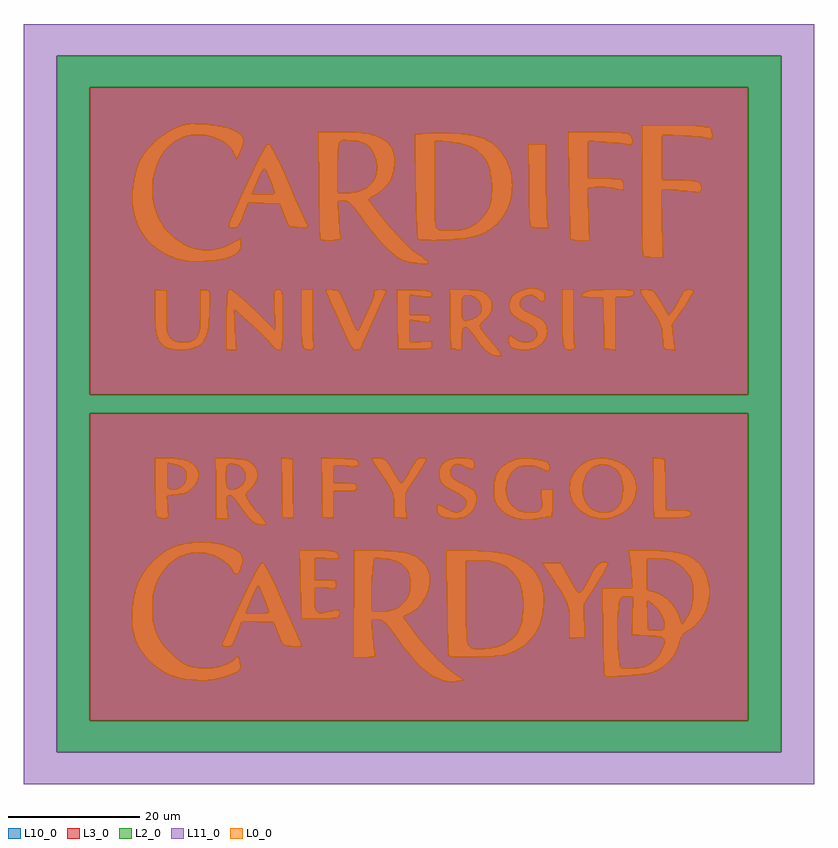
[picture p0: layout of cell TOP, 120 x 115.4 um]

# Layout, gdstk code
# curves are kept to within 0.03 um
import gdstk
lib = gdstk.Library(unit=1e-6, precision=1e-09)
def R(c, l, rs):  # rectangles x0, y0, x1, y1
    for r in rs: c.add(gdstk.rectangle(r[:2], r[2:], *l))
def P(c, l, *ps):  # polygons
    for p in ps: c.add(gdstk.Polygon(p, *l))
L0_0 = (0, 0)
L2_0 = (2, 0)
L3_0 = (3, 0)
L10_0 = (10, 0)
L11_0 = (11, 0)

top = lib.new_cell('TOP')
P(top, L0_0, [(-29.15,-36.901),(-29.516,-36.84),(-29.756,-36.699),(-29.87,-36.498),(-29.832,-36.207),(-27.632,-31.222),(-25.935,-27.638),(-24.447,-27.638),(-24.523,-27.685),(-24.969,-28.581),(-26.319,-31.789),(-23.774,-31.766),(-23.135,-31.694),(-22.897,-31.646),(-22.85,-31.596),(-22.921,-31.105),(-24.305,-27.7),(-24.429,-27.638),(-25.935,-27.638),(-25.349,-26.438),(-24.127,-24.297),(-23.904,-24.136),(-23.629,-24.158),(-23.465,-24.302),(-23.098,-24.932),(-22.29,-26.473),(-21.212,-28.82),(-17.778,-36.712),(-17.88,-36.774),(-18.217,-36.836),(-19.028,-36.849),(-20.156,-36.73),(-20.553,-36.55),(-20.738,-36.365),(-20.896,-36.11),(-22.082,-33.227),(-26.91,-33.042),(-27.827,-35.496),(-28.149,-36.22),(-28.376,-36.564),(-28.572,-36.742),(-28.835,-36.862)],
  [(22.843,-35.662),(22.843,-32.747),(22.79,-31.853),(22.674,-31.004),(22.449,-30.22),(21.788,-28.852),(20.792,-27.275),(18.666,-24.121),(21.549,-24.121),(23.389,-27.474),(23.938,-28.378),(24.103,-28.528),(24.319,-28.582),(24.606,-28.501),(24.84,-28.285),(26.372,-25.412),(26.994,-24.555),(27.363,-24.229),(27.747,-24.019),(28.176,-23.947),(28.536,-24.037),(28.712,-24.158),(28.742,-24.295),(28.03,-25.685),(27.376,-26.774),(25.054,-30.351),(25.182,-35.463)],
  [(5,-42.226),(4.487,-42.206),(3.979,-42.126),(3.421,-41.966),(2.698,-41.673),(1.683,-41.093),(0.632,-40.281),(-0.453,-39.23),(-1.361,-38.186),(-2.604,-36.604),(-3.793,-34.927),(-4.755,-33.666),(-5.337,-33.092),(-5.625,-32.909),(-5.922,-32.791),(-6.221,-32.748),(-7.179,-32.748),(-6.893,-35.993),(-6.671,-37.886),(-6.705,-38.287),(-6.868,-38.415),(-7.137,-38.481),(-9.972,-38.498),(-9.909,-23.403),(-6.771,-23.403),(-7.032,-25.302),(-7.157,-27.311),(-7.188,-31.47),(-5.705,-31.47),(-4.542,-31.333),(-3.675,-31.082),(-2.933,-30.684),(-2.306,-30.136),(-1.938,-29.647),(-1.744,-29.288),(-1.421,-28.277),(-1.316,-27.376),(-1.395,-26.371),(-1.639,-25.55),(-2.069,-24.862),(-2.454,-24.486),(-2.773,-24.257),(-3.585,-23.885),(-4.8,-23.607),(-6.771,-23.403),(-9.909,-23.403),(-9.904,-22.206),(-5.928,-22.205),(-4.553,-22.258),(-3.255,-22.358),(-2.007,-22.535),(-1,-22.873),(-0.3,-23.26),(0.332,-23.75),(1.01,-24.514),(1.266,-24.918),(1.504,-25.451),(1.653,-26.061),(1.705,-26.622),(1.687,-27.186),(1.591,-27.786),(1.261,-28.84),(0.753,-29.824),(0.321,-30.427),(-0.148,-30.948),(-0.582,-31.327),(-1.058,-31.651),(-2.418,-32.329),(-0.244,-35.272),(1.01,-36.769),(2.703,-38.601),(3.525,-39.402),(4.634,-40.371),(6.923,-41.948),(5.513,-42.186)],
  [(-17.891,-32.588),(-18.211,-22.204),(-13.698,-22.227),(-13.182,-22.286),(-12.757,-22.414),(-12.452,-22.633),(-12.273,-22.896),(-12.127,-23.313),(-12.151,-23.411),(-12.227,-23.476),(-12.609,-23.544),(-15.815,-23.423),(-15.815,-26.677),(-13.755,-26.689),(-12.776,-26.841),(-12.635,-26.893),(-12.579,-26.969),(-12.526,-27.534),(-12.535,-27.71),(-12.608,-27.856),(-12.77,-27.967),(-12.964,-28.023),(-15.815,-27.908),(-15.781,-30.499),(-15.727,-30.907),(-15.615,-31.234),(-15.471,-31.469),(-15.252,-31.638),(-15.042,-31.696),(-14.727,-31.702),(-13.215,-31.379),(-12.261,-31.255),(-12.098,-31.319),(-12.022,-31.443),(-12.042,-31.897),(-12.117,-32.128),(-12.243,-32.314),(-12.418,-32.443),(-12.961,-32.558)],
  [(6.382,-38.488),(5.345,-38.44),(4.722,-38.345),(4.519,-38.195),(4.435,-37.897),(4.266,-31.452),(4.173,-23.802),(7.188,-23.802),(7.188,-32.641),(7.233,-35.25),(7.335,-35.964),(7.534,-36.561),(7.722,-36.835),(7.993,-37.025),(8.509,-37.13),(9.407,-37.156),(10.35,-37.081),(11.425,-36.885),(12.474,-36.581),(13.105,-36.327),(13.801,-35.906),(14.405,-35.362),(14.907,-34.705),(15.173,-34.219),(15.378,-33.706),(15.57,-32.958),(15.774,-31.547),(15.815,-30.835),(15.815,-30.183),(15.712,-29.011),(15.608,-28.431),(15.342,-27.428),(15.11,-26.857),(14.809,-26.318),(14.444,-25.82),(14.021,-25.372),(13.545,-24.978),(13.024,-24.645),(12.466,-24.379),(11.745,-24.143),(11.17,-24.007),(10.001,-23.836),(9.411,-23.802),(4.173,-23.802),(4.153,-22.204),(8.223,-22.212),(9.697,-22.277),(12.094,-22.5),(13.112,-22.689),(14.204,-23.028),(14.732,-23.248),(15.741,-23.785),(16.765,-24.544),(17.32,-25.108),(17.805,-25.734),(18.214,-26.417),(18.546,-27.154),(18.879,-28.319),(18.986,-29.121),(19.004,-30.221),(18.964,-30.819),(18.783,-32.002),(18.482,-33.122),(18.3,-33.614),(17.696,-34.814),(17.269,-35.423),(16.778,-35.983),(15.875,-36.764),(14.99,-37.333),(14.494,-37.592),(13.555,-37.982),(12.816,-38.18),(11.703,-38.327)],
  [(28.74,-41.458),(28.464,-41.39),(28.27,-41.243),(28.142,-41.035),(28.074,-40.714),(27.909,-35.49),(27.815,-29.233),(31.454,-29.233),(30.896,-29.309),(30.73,-29.419),(30.59,-29.615),(30.356,-30.677),(30.257,-31.666),(30.205,-33.059),(30.205,-35.388),(30.27,-37.035),(30.6,-40.096),(32.372,-40.096),(33.119,-40.042),(34.057,-39.863),(35.001,-39.478),(35.665,-39.019),(36.281,-38.348),(36.778,-37.475),(37.281,-36.236),(37.262,-35.941),(37.145,-35.71),(36.917,-35.501),(36.629,-35.386),(35.198,-35.254),(32.268,-35.144),(32.472,-29.815),(34.634,-29.815),(34.824,-34.185),(36.767,-34.322),(36.967,-34.278),(37.13,-34.15),(37.195,-33.925),(37.21,-33.28),(37.14,-32.873),(36.945,-32.331),(36.596,-31.671),(36.301,-31.245),(35.973,-30.856),(35.433,-30.374),(34.634,-29.815),(32.472,-29.815),(32.494,-29.233),(27.815,-29.233),(27.796,-27.955),(32.418,-27.955),(31.997,-23.482),(34.665,-23.482),(34.665,-28.173),(35.99,-28.571),(36.447,-28.753),(37.128,-29.154),(37.938,-29.821),(38.654,-30.618),(39.221,-31.484),(39.496,-32.089),(39.981,-33.489),(40.827,-32.127),(41.069,-31.653),(41.329,-30.9),(41.49,-30.076),(41.578,-29.138),(41.569,-28.22),(41.466,-27.316),(41.312,-26.67),(41.1,-26.189),(40.759,-25.679),(40.301,-25.147),(39.633,-24.531),(38.995,-24.11),(38.543,-23.89),(37.83,-23.653),(37.212,-23.536),(36.542,-23.482),(31.997,-23.482),(31.805,-22.204),(35.816,-22.204),(37.227,-22.268),(38.514,-22.392),(39.544,-22.564),(40.468,-22.843),(41.106,-23.127),(41.898,-23.607),(42.688,-24.331),(43.177,-24.992),(43.443,-25.475),(43.691,-26.073),(43.956,-26.969),(44.142,-28.158),(44.154,-28.828),(44.095,-29.496),(43.823,-30.674),(43.342,-31.824),(42.68,-32.86),(42.174,-33.447),(41.7,-33.879),(41.18,-34.253),(40.552,-34.618),(40.145,-35.006),(39.792,-35.612),(39.393,-36.841),(39.132,-37.469),(38.618,-38.349),(38.198,-38.887),(37.719,-39.382),(37.188,-39.827),(36.604,-40.224),(35.735,-40.673),(35.17,-40.873),(34.588,-41.011),(32.316,-41.3),(30.184,-41.442)],
  [(-32.878,-42.025),(-34.361,-41.982),(-35.1,-41.903),(-36.219,-41.699),(-37.199,-41.414),(-38.594,-40.797),(-39.468,-40.243),(-40.326,-39.57),(-41.112,-38.822),(-41.812,-38.014),(-42.388,-37.206),(-42.761,-36.54),(-43.201,-35.411),(-43.441,-34.41),(-43.576,-33.253),(-43.607,-32.467),(-43.549,-30.892),(-43.459,-30.104),(-43.188,-28.675),(-42.88,-27.661),(-42.474,-26.706),(-42.005,-25.855),(-41.397,-24.976),(-40.506,-23.943),(-39.522,-23.034),(-38.996,-22.626),(-38.15,-22.077),(-37.341,-21.681),(-36.489,-21.38),(-35.611,-21.171),(-34.339,-21.005),(-32.929,-20.946),(-31.515,-21.012),(-30.032,-21.252),(-29.008,-21.565),(-28.299,-21.845),(-27.764,-22.102),(-27.412,-22.342),(-27.127,-22.616),(-26.945,-22.879),(-26.827,-23.177),(-26.76,-23.679),(-26.79,-24.143),(-26.883,-24.562),(-27.037,-25.009),(-27.316,-25.55),(-27.647,-25.823),(-27.795,-25.863),(-27.919,-25.83),(-28.112,-25.65),(-28.612,-24.827),(-29.455,-24.007),(-30.011,-23.622),(-30.654,-23.288),(-31.825,-22.866),(-33.016,-22.649),(-34.051,-22.638),(-35.074,-22.803),(-36.061,-23.139),(-36.687,-23.455),(-37.273,-23.838),(-38.119,-24.579),(-39.057,-25.745),(-39.559,-26.608),(-39.896,-27.383),(-40.223,-28.527),(-40.411,-29.853),(-40.454,-31.372),(-40.322,-32.886),(-40.133,-33.841),(-39.746,-34.964),(-39.37,-35.713),(-38.581,-36.85),(-37.726,-37.793),(-36.809,-38.613),(-35.77,-39.341),(-35.119,-39.642),(-34.079,-39.917),(-33.128,-40.046),(-31.686,-40.044),(-30.747,-39.916),(-29.449,-39.547),(-28.883,-39.296),(-28.432,-39.029),(-27.588,-38.362),(-27.451,-38.351),(-27.343,-38.447),(-27.106,-39.415),(-27.075,-40.046),(-27.234,-40.411),(-27.591,-40.722),(-28.425,-41.104),(-29.327,-41.442),(-30.295,-41.72),(-31.403,-41.916)],
  [(16.235,-17.61),(15.582,-17.564),(14.938,-17.451),(14.351,-17.285),(13.801,-17.059),(13.306,-16.785),(12.729,-16.357),(12.386,-16.023),(11.913,-15.446),(11.582,-14.891),(11.388,-14.145),(11.342,-12.817),(11.426,-11.8),(11.528,-11.252),(11.648,-10.867),(11.903,-10.326),(12.23,-9.864),(12.493,-9.593),(12.948,-9.227),(13.501,-8.879),(14.439,-8.457),(15.277,-8.25),(16.219,-8.211),(17.695,-8.314),(18.805,-8.53),(19.416,-8.764),(19.625,-8.949),(19.757,-9.144),(19.864,-9.417),(19.894,-9.742),(19.822,-9.975),(19.655,-10.21),(19.521,-10.246),(19.331,-10.213),(18.268,-9.72),(17.256,-9.488),(16.17,-9.442),(15.294,-9.566),(14.698,-9.836),(14.292,-10.196),(13.797,-10.941),(13.414,-11.874),(13.269,-12.632),(13.273,-13.276),(13.471,-14.235),(13.767,-14.887),(14.239,-15.486),(14.844,-15.953),(15.501,-16.244),(16.222,-16.409),(17.014,-16.448),(17.717,-16.388),(18.067,-16.311),(18.335,-16.15),(18.565,-15.84),(18.646,-15.507),(18.609,-14.586),(18.467,-13.425),(18.535,-13.114),(18.66,-12.999),(18.891,-12.958),(20.288,-12.939),(20.288,-15.414),(20.215,-17.082),(17.93,-17.491),(17.319,-17.567)],
  [(27.808,-17.462),(26.805,-17.348),(25.84,-17.053),(25.005,-16.623),(24.318,-16.092),(23.736,-15.447),(23.426,-14.981),(23.2,-14.534),(22.906,-13.578),(22.832,-12.831),(22.934,-11.837),(23.258,-10.893),(23.804,-10.025),(24.161,-9.624),(24.56,-9.266),(27.742,-9.261),(26.995,-9.378),(26.313,-9.727),(25.924,-10.056),(25.699,-10.312),(25.326,-10.934),(24.995,-11.938),(24.897,-12.726),(24.905,-13.249),(24.973,-13.764),(25.183,-14.515),(25.521,-15.2),(25.91,-15.656),(26.394,-16.01),(27.122,-16.306),(28.011,-16.439),(28.771,-16.375),(29.478,-16.14),(30.01,-15.757),(30.362,-15.327),(30.607,-14.828),(30.839,-13.907),(30.914,-13.206),(30.909,-12.496),(30.748,-11.442),(30.499,-10.749),(30.141,-10.22),(29.816,-9.906),(29.465,-9.669),(29.016,-9.469),(28.477,-9.322),(27.926,-9.262),(24.567,-9.261),(25.23,-8.816),(25.966,-8.479),(26.775,-8.261),(27.752,-8.174),(28.738,-8.265),(29.734,-8.528),(30.65,-8.93),(31.13,-9.229),(31.572,-9.584),(32.145,-10.21),(32.461,-10.68),(32.711,-11.171),(32.948,-11.886),(33.055,-12.884),(33.017,-13.386),(32.918,-13.879),(32.63,-14.666),(32.193,-15.402),(31.829,-15.842),(31.414,-16.233),(30.653,-16.752),(29.753,-17.157),(28.796,-17.396)],
  [(-38.882,-17.412),(-39.318,-17.345),(-39.694,-17.162),(-39.881,-16.955),(-39.968,-16.658),(-40.096,-13.083),(-40.096,-9.026),(-38.179,-9.026),(-38.156,-12.366),(-38.039,-12.732),(-37.855,-12.874),(-37.311,-12.939),(-36.819,-12.888),(-36.359,-12.698),(-35.997,-12.432),(-35.67,-12.047),(-35.428,-11.563),(-35.312,-11.034),(-35.318,-10.62),(-35.434,-10.223),(-35.672,-9.877),(-36.069,-9.582),(-36.46,-9.416),(-37.027,-9.256),(-38.179,-9.026),(-40.096,-9.026),(-40.096,-8.147),(-37.964,-8.147),(-37.135,-8.198),(-35.902,-8.382),(-35.054,-8.643),(-34.459,-8.981),(-34.1,-9.263),(-33.822,-9.554),(-33.634,-9.845),(-33.47,-10.275),(-33.411,-10.735),(-33.463,-11.196),(-33.593,-11.58),(-33.922,-12.19),(-34.198,-12.56),(-34.699,-13.067),(-35.232,-13.437),(-35.671,-13.618),(-36.102,-13.724),(-38.25,-13.989),(-38.04,-16.981),(-38.104,-17.2),(-38.229,-17.332)],
  [(-1.814,-17.448),(-3.834,-17.252),(-3.863,-14.448),(-3.927,-13.904),(-4.056,-13.415),(-4.457,-12.57),(-6.926,-8.806),(-7.169,-8.415),(-7.156,-8.261),(-6.688,-8.165),(-5.98,-8.165),(-5.458,-8.316),(-5.044,-8.574),(-4.77,-8.845),(-4.299,-9.504),(-3.074,-11.543),(-2.772,-11.932),(-2.665,-11.981),(-2.531,-11.922),(-1.977,-11.115),(-0.757,-9.027),(-0.357,-8.528),(0.017,-8.246),(0.329,-8.154),(0.764,-8.19),(0.958,-8.263),(1.096,-8.375),(1.096,-8.592),(0.853,-9.026),(-1.612,-12.847),(-1.948,-13.599),(-2.043,-14.098),(-2.047,-14.598)],
  [(5.228,-17.412),(3.982,-17.294),(3.565,-17.16),(3.153,-16.919),(2.91,-16.64),(2.742,-16.224),(2.716,-15.813),(2.768,-15.286),(2.872,-15.238),(3.052,-15.264),(5.291,-16.334),(5.875,-16.414),(6.133,-16.348),(6.361,-16.219),(6.808,-15.82),(7.147,-15.237),(7.191,-15.01),(7.165,-14.779),(6.926,-14.348),(6.582,-14.023),(5.63,-13.44),(4.009,-12.549),(3.482,-12.079),(3.227,-11.668),(3.109,-11.24),(3.035,-10.33),(3.121,-9.83),(3.373,-9.327),(3.742,-8.913),(4.292,-8.541),(4.798,-8.333),(5.481,-8.186),(5.966,-8.147),(6.926,-8.175),(7.858,-8.305),(8.082,-8.402),(8.227,-8.531),(8.432,-8.976),(8.463,-9.258),(8.426,-9.536),(8.347,-9.72),(8.191,-9.877),(8.035,-9.925),(7.617,-9.83),(6.669,-9.385),(6.172,-9.213),(5.913,-9.172),(5.636,-9.191),(5.287,-9.324),(5.021,-9.58),(4.844,-10.002),(4.796,-10.511),(4.955,-10.976),(5.305,-11.338),(6.047,-11.781),(7.314,-12.42),(7.897,-12.78),(8.401,-13.163),(8.659,-13.628),(8.771,-14.087),(8.777,-14.653),(8.693,-15.085),(8.468,-15.649),(8.169,-16.117),(7.766,-16.564),(7.26,-16.991),(6.865,-17.211),(6.416,-17.345)],
  [(-23.89,-18.371),(-24.422,-18.294),(-24.805,-18.156),(-25.272,-17.877),(-25.624,-17.573),(-26.313,-16.772),(-28.171,-14.209),(-28.415,-14.004),(-28.716,-13.897),(-29.005,-13.941),(-29.123,-14.068),(-29.163,-14.208),(-29.117,-15.418),(-28.868,-17.412),(-30.831,-17.412),(-30.831,-12.475),(-30.949,-9.105),(-28.54,-9.105),(-28.878,-9.168),(-29.039,-9.265),(-29.137,-9.433),(-29.207,-9.74),(-29.207,-12.305),(-29.106,-12.688),(-28.923,-12.859),(-28.54,-12.939),(-28.025,-12.89),(-27.504,-12.713),(-27.153,-12.501),(-26.798,-12.17),(-26.549,-11.798),(-26.389,-11.349),(-26.358,-10.975),(-26.436,-10.515),(-26.663,-10.054),(-26.953,-9.712),(-27.383,-9.395),(-27.758,-9.228),(-28.298,-9.114),(-30.949,-9.105),(-31.06,-8.491),(-31.011,-8.329),(-30.911,-8.228),(-30.417,-8.138),(-29.428,-8.158),(-27.95,-8.225),(-26.541,-8.392),(-26.1,-8.529),(-25.595,-8.811),(-25.2,-9.142),(-24.862,-9.545),(-24.616,-9.968),(-24.467,-10.463),(-24.451,-10.885),(-24.544,-11.367),(-24.716,-11.76),(-25.038,-12.253),(-26.079,-13.412),(-26.196,-13.666),(-26.215,-13.871),(-26.03,-14.393),(-25.547,-15.15),(-23.328,-17.872),(-23.23,-18.118),(-23.285,-18.263),(-23.582,-18.353)],
  [(-12.939,-17.455),(-14.696,-17.252),(-14.874,-8.122),(-10.332,-8.291),(-9.639,-8.415),(-9.346,-8.599),(-9.184,-8.888),(-9.197,-9.268),(-9.259,-9.384),(-9.381,-9.466),(-9.844,-9.526),(-12.939,-9.368),(-12.939,-11.981),(-10.68,-11.981),(-9.948,-12.027),(-9.683,-12.107),(-9.565,-12.197),(-9.463,-12.383),(-9.425,-12.598),(-9.463,-12.856),(-9.565,-13.043),(-9.683,-13.133),(-9.948,-13.213),(-10.68,-13.259),(-12.939,-13.259)],
  [(36.893,-17.362),(35.712,-17.283),(35.624,-17.207),(35.463,-8.118),(37.38,-8.307),(37.56,-16.134),(40.723,-16.162),(41.15,-16.274),(41.265,-16.394),(41.317,-16.546),(41.292,-16.772),(41.163,-16.956),(40.929,-17.097),(40.59,-17.195),(39.183,-17.319)],
  [(-18.992,-17.456),(-20.767,-17.252),(-20.944,-8.103),(-19.169,-8.307)],
  [(-29.233,8.147),(-29.215,15.804),(-29.121,16.808),(-28.925,17.305),(-28.694,17.412),(-28.385,17.327),(-26.78,16.007),(-25.587,14.904),(-21.817,11.182),(-22.054,16.425),(-22.017,16.926),(-21.903,17.212),(-21.644,17.37),(-21.29,17.405),(-20.983,17.259),(-20.805,17.015),(-20.724,16.666),(-20.673,16.019),(-20.663,14.318),(-20.692,9.733),(-20.79,8.741),(-20.993,8.253),(-21.171,8.154),(-21.402,8.169),(-21.703,8.331),(-22.081,8.623),(-22.957,9.62),(-24.327,11.016),(-28.058,14.375),(-27.687,8.147)],
  [(-16.74,8.18),(-17.154,8.259),(-17.507,8.481),(-17.648,8.727),(-17.786,9.351),(-17.868,10.362),(-17.891,11.862),(-17.891,17.412),(-16.134,17.412),(-16.108,11.191),(-16.016,9.292),(-15.911,8.751),(-16.001,8.514),(-16.175,8.337),(-16.399,8.23)],
  [(12.292,7.226),(11.777,7.272),(11.212,7.408),(10.761,7.61),(10.35,7.899),(9.645,8.611),(7.635,11.307),(7.378,11.516),(7.063,11.617),(6.8,11.559),(6.646,11.322),(6.55,10.121),(6.532,8.702),(6.414,8.316),(6.266,8.209),(6.003,8.187),(4.792,8.307),(4.634,16.454),(7.34,16.454),(6.962,16.407),(6.76,16.321),(6.652,16.165),(6.573,15.858),(6.55,13.861),(6.59,13.167),(6.69,12.888),(6.928,12.692),(7.151,12.665),(7.506,12.771),(8.464,13.144),(9.016,13.445),(9.21,13.635),(9.339,13.863),(9.425,14.527),(9.363,14.976),(9.152,15.493),(8.885,15.846),(8.444,16.187),(8.001,16.371),(7.604,16.445),(4.634,16.454),(4.615,17.412),(7.668,17.412),(8.989,17.308),(9.529,17.141),(9.916,16.924),(10.319,16.612),(10.645,16.263),(10.971,15.743),(11.116,15.319),(11.161,14.873),(11.091,14.362),(10.956,13.99),(10.665,13.506),(10.356,13.127),(9.391,12.138),(9.324,11.985),(9.322,11.785),(9.435,11.49),(9.604,11.219),(11.558,8.845),(12.128,8.069),(12.537,7.389),(12.461,7.252)],
  [(22.882,8.178),(22.472,8.254),(22.122,8.472),(21.991,8.698),(21.853,9.322),(21.766,10.377),(21.739,11.868),(21.725,17.412),(23.482,17.412),(23.509,11.191),(23.601,9.292),(23.708,8.787),(23.638,8.551),(23.443,8.338),(23.154,8.211)],
  [(29.872,8.104),(28.115,8.307),(27.935,16.134),(26.043,16.134),(25.354,16.189),(24.831,16.291),(24.76,16.409),(24.842,16.7),(25.004,16.886),(25.319,17.08),(25.824,17.237),(26.763,17.363),(28.041,17.412),(30.238,17.412),(32.049,17.345),(32.441,17.242),(32.658,17.055),(32.691,16.867),(32.594,16.632),(32.401,16.453),(32.176,16.348),(31.39,16.207),(29.872,16.097)],
  [(38.906,8.096),(37.641,8.263),(37.366,8.357),(37.183,8.539),(37.048,8.971),(36.95,10.46),(36.83,11.393),(36.557,12.285),(36.264,12.88),(35.776,13.689),(33.747,16.751),(33.596,17.141),(33.68,17.318),(34.343,17.412),(34.881,17.384),(35.284,17.289),(35.64,17.063),(35.916,16.769),(36.412,16.037),(37.955,13.497),(38.949,14.885),(39.866,16.649),(40.205,17.115),(40.484,17.313),(40.911,17.412),(41.384,17.354),(41.67,17.185),(41.66,16.939),(40.965,15.76),(38.461,12.029)],
  [(-9.547,8.147),(-9.875,8.251),(-10.173,8.551),(-10.619,9.231),(-10.928,9.819),(-14.124,17.054),(-14.175,17.242),(-14.081,17.366),(-13.398,17.411),(-12.62,17.313),(-12.293,17.206),(-12.043,16.981),(-11.336,15.525),(-9.576,11.444),(-9.436,11.242),(-9.302,11.19),(-9.146,11.285),(-7.538,14.688),(-6.99,16.019),(-6.894,16.44),(-6.851,16.974),(-6.765,17.188),(-6.475,17.365),(-6.029,17.412),(-5.388,17.379),(-5.045,17.296),(-4.958,17.232),(-4.979,17.055),(-5.219,16.502),(-7.645,11.14),(-8.695,8.649),(-8.857,8.42),(-9.057,8.265),(-9.309,8.17)],
  [(-3.195,8.307),(-3.372,17.438),(0.862,17.267),(1.341,17.194),(1.683,17.079),(1.904,16.912),(2.026,16.648),(1.988,16.33),(1.909,16.242),(1.79,16.201),(1.455,16.181),(0.88,16.238),(-1.438,16.527),(-1.438,13.578),(0.617,13.578),(1.25,13.537),(1.5,13.459),(1.635,13.352),(1.728,13.142),(1.757,12.935),(1.736,12.695),(1.651,12.467),(1.55,12.389),(1.322,12.341),(0.643,12.394),(-1.438,12.68),(-1.438,9.346),(0.878,9.538),(1.727,9.544),(1.918,9.466),(2.001,9.312),(2.016,8.999),(1.917,8.702),(1.786,8.542),(1.625,8.441),(0.977,8.326)],
  [(-36.301,8.163),(-37.514,8.279),(-38.038,8.42),(-38.519,8.637),(-38.896,8.891),(-39.222,9.206),(-39.492,9.577),(-39.696,9.988),(-39.973,11.108),(-40.096,12.876),(-40.096,17.455),(-38.339,17.252),(-38.333,13.376),(-38.233,11.397),(-38.124,10.85),(-37.85,10.214),(-37.702,10.013),(-37.452,9.795),(-37.155,9.646),(-36.724,9.525),(-35.918,9.425),(-35.103,9.476),(-34.404,9.648),(-34.002,9.876),(-33.684,10.262),(-33.383,11.055),(-33.272,12.166),(-33.227,13.458),(-33.227,17.438),(-32.188,17.292),(-31.899,17.144),(-31.767,16.962),(-31.68,16.318),(-31.767,13.632),(-31.852,12.464),(-31.937,11.687),(-32.087,10.918),(-32.447,9.908),(-32.646,9.573),(-32.975,9.16),(-33.33,8.852),(-33.764,8.596),(-34.391,8.363),(-34.942,8.251)],
  [(15.808,8.147),(14.739,8.277),(14.363,8.417),(13.985,8.664),(13.758,8.942),(13.603,9.344),(13.589,9.869),(13.663,10.234),(13.815,10.335),(14.031,10.322),(14.935,9.726),(15.541,9.499),(16.104,9.425),(16.747,9.468),(17.309,9.642),(17.645,9.924),(17.87,10.447),(17.878,10.945),(17.71,11.267),(17.305,11.652),(14.898,13),(14.516,13.277),(14.19,13.594),(13.885,14.026),(13.715,14.49),(13.674,14.945),(13.742,15.501),(13.917,15.993),(14.271,16.506),(14.696,16.862),(15.311,17.206),(15.973,17.446),(16.491,17.556),(17.312,17.599),(17.907,17.528),(18.265,17.413),(18.598,17.239),(18.896,17.01),(19.081,16.777),(19.162,16.467),(19.156,16.125),(19.088,15.858),(18.938,15.596),(18.765,15.502),(18.585,15.52),(18.25,15.763),(17.88,16.144),(17.519,16.345),(16.986,16.45),(16.536,16.431),(16.004,16.272),(15.615,15.986),(15.39,15.567),(15.343,15.29),(15.368,15.001),(15.445,14.804),(15.596,14.6),(16.015,14.242),(18.239,13.135),(18.599,12.888),(18.939,12.574),(19.224,12.191),(19.45,11.627),(19.521,11.083),(19.464,10.527),(19.256,9.934),(19.012,9.531),(18.662,9.137),(18.207,8.774),(17.696,8.496),(17.042,8.276),(16.34,8.16)],
  [(-28.191,26.677),(-28.572,26.742),(-28.823,26.886),(-28.917,27.041),(-28.886,27.307),(-27.671,30.134),(-25.097,35.709),(-23.484,35.709),(-23.626,35.573),(-24.079,34.821),(-25.351,31.949),(-22.841,31.816),(-22.102,31.839),(-21.95,31.957),(-21.94,32.119),(-22.81,34.465),(-23.128,35.247),(-23.343,35.593),(-23.484,35.709),(-25.097,35.709),(-24.395,37.165),(-23.191,39.276),(-22.992,39.432),(-22.709,39.432),(-22.531,39.3),(-22.169,38.697),(-21.42,37.259),(-17.585,28.581),(-17.162,27.664),(-16.846,27.189),(-16.802,27.065),(-16.821,26.932),(-16.97,26.804),(-17.213,26.727),(-18.04,26.725),(-19.254,26.849),(-19.651,27.029),(-19.836,27.213),(-19.993,27.469),(-21.18,30.351),(-25.951,30.536),(-26.869,28.082),(-27.19,27.358),(-27.418,27.015),(-27.614,26.837),(-27.876,26.716)],
  [(18.302,26.677),(17.677,26.74),(17.066,26.916),(16.889,27.067),(16.797,27.325),(16.672,30.117),(16.632,32.293),(16.607,39.457),(19.329,39.457),(19.333,33.227),(19.393,30.247),(19.465,28.428),(19.732,26.677)],
  [(1.925,24.817),(0.147,24.896),(-0.116,25.036),(-0.236,25.264),(-0.436,28.258),(-0.623,39.86),(2.396,39.86),(2.396,32.399),(2.513,27.211),(2.627,26.787),(2.908,26.549),(3.435,26.404),(4.229,26.359),(5.639,26.408),(6.534,26.533),(7.477,26.798),(8.022,27.041),(8.535,27.349),(9.235,27.923),(9.781,28.526),(10.239,29.154),(10.559,29.756),(10.813,30.524),(10.927,31.139),(11.022,32.563),(11.022,33.273),(10.929,34.411),(10.595,35.949),(10.386,36.502),(10.112,37.027),(9.59,37.744),(9.176,38.164),(8.715,38.531),(8.214,38.84),(7.68,39.088),(6.733,39.393),(6.183,39.523),(5.065,39.689),(2.396,39.86),(-0.623,39.86),(-0.639,41.03),(3.5,41.212),(5.854,41.135),(6.915,41.03),(8.561,40.751),(9.661,40.412),(10.393,40.073),(11.089,39.64),(11.726,39.125),(12.55,38.214),(13.066,37.429),(13.506,36.554),(13.97,35.16),(14.187,33.693),(14.152,32.195),(13.865,30.724),(13.574,29.881),(13.205,29.109),(12.495,28.04),(11.611,27.102),(10.557,26.312),(9.376,25.712),(8.419,25.389),(7.06,25.102),(4.678,24.877)],
  [(0.909,21.234),(-0.288,21.28),(-1.625,21.495),(-2.12,21.656),(-2.662,21.901),(-3.571,22.492),(-4.767,23.519),(-6.424,25.263),(-8.113,27.405),(-9.082,28.778),(-9.986,29.96),(-10.546,30.505),(-11.119,30.79),(-11.412,30.831),(-12.367,30.831),(-11.865,25.227),(-11.905,25.054),(-12.066,24.931),(-12.412,24.879),(-13.665,24.806),(-14.671,24.851),(-14.942,25.015),(-15.023,25.173),(-15.073,25.435),(-15.181,29.082),(-15.32,40.019),(-11.331,40.019),(-11.717,39.968),(-12.008,39.826),(-12.091,39.673),(-12.189,39.081),(-12.273,38.011),(-12.3,36.817),(-12.3,32.109),(-10.629,32.11),(-9.713,32.214),(-8.835,32.47),(-8.045,32.859),(-7.295,33.445),(-6.986,33.829),(-6.81,34.135),(-6.527,34.93),(-6.459,35.347),(-6.435,35.946),(-6.543,36.927),(-6.873,37.963),(-7.112,38.435),(-7.394,38.848),(-7.706,39.162),(-8.069,39.415),(-8.807,39.706),(-10.391,39.956),(-11.331,40.019),(-15.32,40.019),(-15.335,41.374),(-10.968,41.374),(-9.795,41.331),(-8.483,41.22),(-7.643,41.092),(-6.913,40.915),(-5.884,40.496),(-5.112,40.027),(-4.487,39.424),(-4.172,38.959),(-3.945,38.466),(-3.765,37.788),(-3.689,37.221),(-3.674,36.603),(-3.735,35.849),(-3.874,35.107),(-4.056,34.489),(-4.442,33.717),(-4.72,33.339),(-5.184,32.836),(-5.741,32.328),(-6.335,31.875),(-6.873,31.551),(-7.411,31.315),(-7.54,31.133),(-7.545,30.879),(-6.278,29.172),(-4.373,26.865),(-2.098,24.38),(-1.065,23.457),(0.678,22.198),(1.385,21.602),(1.425,21.428),(1.341,21.293),(1.213,21.242)],
  [(24.398,24.76),(23.727,24.819),(23.188,24.977),(23.027,25.104),(22.948,25.378),(22.788,31.937),(22.684,41.374),(27.775,41.374),(29.369,41.328),(31.411,41.171),(31.723,41.086),(32.003,40.913),(32.184,40.719),(32.33,40.455),(32.434,40.106),(32.456,39.818),(32.4,39.58),(32.248,39.359),(32.06,39.273),(31.555,39.388),(30.14,39.568),(25.719,39.865),(25.719,34.371),(30.141,34.198),(30.609,34.104),(30.867,33.949),(31.027,33.616),(31.111,33.139),(31.111,32.525),(31.088,32.44),(31.005,32.43),(28.751,32.825),(27.65,32.908),(26.882,32.891),(25.636,32.651),(25.94,24.76)],
  [(37.061,22.204),(35.396,22.219),(34.67,22.297),(34.159,22.438),(34.019,22.573),(33.963,22.721),(33.826,26.398),(33.866,42.332),(41.91,42.296),(43.258,42.2),(43.944,42.101),(44.143,41.988),(44.295,41.812),(44.53,41.175),(44.569,40.85),(44.544,40.397),(44.482,40.259),(44.361,40.183),(43.675,40.369),(42.063,40.546),(36.901,40.807),(36.901,34.026),(40.222,34.026),(41.085,33.994),(41.833,33.905),(42.338,33.774),(42.595,33.611),(42.83,33.24),(42.915,32.77),(42.87,32.467),(42.771,32.27),(42.608,32.112),(42.414,32.058),(40.795,32.249),(36.832,32.514)],
  [(-34.433,21.596),(-35.413,21.677),(-36.464,21.911),(-37.516,22.278),(-38.558,22.769),(-39.543,23.367),(-40.422,24.042),(-41.199,24.81),(-41.876,25.669),(-42.442,26.606),(-42.888,27.606),(-43.226,28.697),(-43.452,29.832),(-43.559,30.998),(-43.55,32.207),(-43.422,33.449),(-43.19,34.673),(-42.863,35.83),(-42.548,36.652),(-42.195,37.34),(-41.544,38.318),(-41.135,38.829),(-40.201,39.802),(-39.157,40.675),(-38.025,41.429),(-36.855,42.029),(-36.251,42.27),(-35.528,42.489),(-34.961,42.582),(-33.974,42.608),(-32.86,42.568),(-31.741,42.479),(-29.866,42.208),(-28.724,41.861),(-27.906,41.471),(-27.121,40.981),(-26.886,40.726),(-26.717,40.428),(-26.617,39.918),(-26.765,39.21),(-26.974,38.627),(-27.672,37.069),(-28.23,38.221),(-28.602,38.802),(-29.247,39.458),(-30.036,39.972),(-31.129,40.45),(-32.322,40.738),(-33.581,40.831),(-34.724,40.731),(-35.72,40.472),(-36.669,40.051),(-37.565,39.456),(-38.347,38.716),(-38.99,37.854),(-39.485,36.936),(-39.912,35.869),(-40.214,34.759),(-40.316,34.193),(-40.425,33.01),(-40.403,31.809),(-40.25,30.618),(-40.124,30.031),(-39.822,29.03),(-39.192,27.681),(-38.648,26.849),(-37.998,26.069),(-37.617,25.685),(-36.789,24.99),(-35.929,24.428),(-34.751,23.881),(-33.502,23.542),(-32.241,23.425),(-30.977,23.529),(-30.153,23.72),(-29.356,24.005),(-27.23,25.062),(-27.089,25.051),(-27.012,24.57),(-26.997,24.083),(-27.029,23.817),(-27.147,23.481),(-27.342,23.182),(-27.566,22.95),(-28.004,22.611),(-28.328,22.43),(-28.917,22.189),(-29.612,21.983),(-30.752,21.786),(-31.974,21.664)])
P(top, L2_0, [(-55,-52.891),(-55,48.083),(-50,48.083),(-50,1.438),(50,1.438),(50,-1.438),(-50,-1.438),(-50,-48.083),(50,-48.083),(50,48.083),(-55,48.083),(-55,52.891),(55,52.891),(55,-52.891)])
R(top, L3_0, [(-50,-48.083,50,-1.438), (-50,1.438,50,48.083)])
R(top, L10_0, [(-55,-52.891,55,52.891)])
P(top, L11_0, [(-60,-57.7),(-60,52.891),(-55,52.891),(-55,-52.891),(55,-52.891),(55,52.891),(-60,52.891),(-60,57.7),(60,57.7),(60,-57.7)])

lib.write_gds('TOP.gds')
